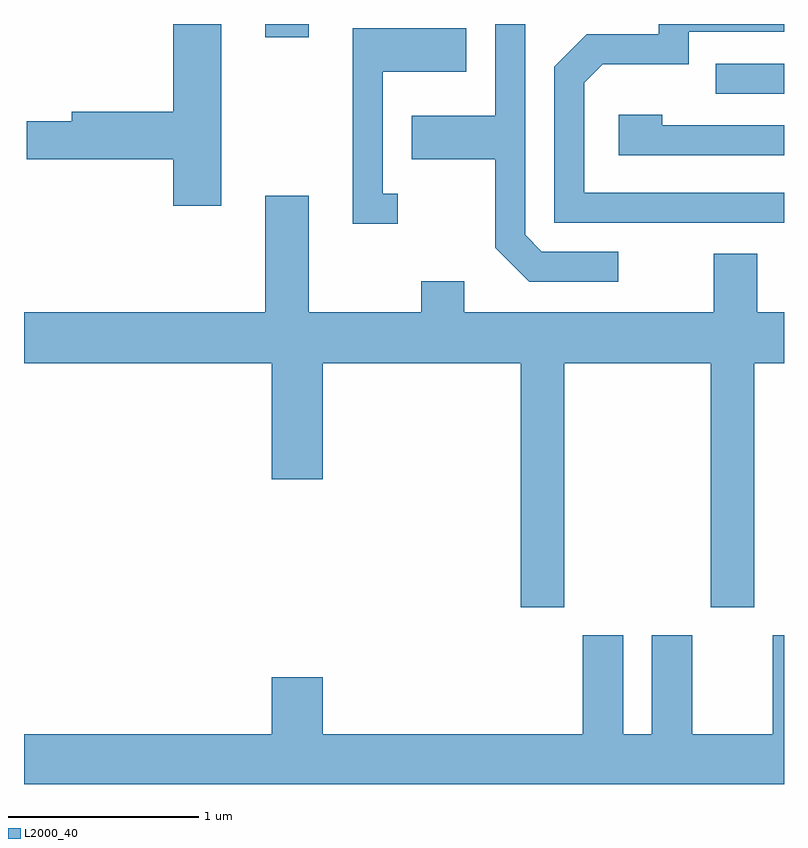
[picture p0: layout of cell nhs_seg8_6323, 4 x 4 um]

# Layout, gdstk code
import gdstk
lib = gdstk.Library(unit=1e-6, precision=1e-09)
def R(c, l, rs):  # rectangles x0, y0, x1, y1
    for r in rs: c.add(gdstk.rectangle(r[:2], r[2:], *l))
def P(c, l, *ps):  # polygons
    for p in ps: c.add(gdstk.Polygon(p, *l))
L2000_40 = (2000, 40)

nhs_seg8_6323 = lib.new_cell('nhs_seg8_6323')
R(nhs_seg8_6323, L2000_40, [(377.253,1919.976,377.611,1920.134), (374.881,1920.271,375.109,1920.342)])
P(nhs_seg8_6323, L2000_40, [(374.649,1920.342),(374.396,1920.342),(374.396,1919.879),(373.861,1919.879),(373.861,1919.829),(373.626,1919.829),(373.626,1919.631),(374.396,1919.631),(374.396,1919.386),(374.649,1919.386)],
  [(376.738,1919.144),(376.337,1919.144),(376.249,1919.232),(376.249,1920.342),(376.091,1920.342),(376.091,1919.859),(375.651,1919.859),(375.651,1919.631),(376.091,1919.631),(376.091,1919.164),(376.269,1918.986),(376.738,1918.986)],
  [(377.611,1919.454),(376.559,1919.454),(376.559,1920.034),(376.657,1920.131),(377.109,1920.131),(377.109,1920.301),(377.611,1920.301),(377.611,1920.342),(376.951,1920.342),(376.951,1920.289),(376.574,1920.289),(376.401,1920.117),(376.401,1919.296),(377.611,1919.296)],
  [(375.578,1919.449),(375.499,1919.449),(375.499,1920.091),(375.939,1920.091),(375.939,1920.319),(375.341,1920.319),(375.341,1919.291),(375.578,1919.291)],
  [(377.611,1919.809),(376.969,1919.809),(376.969,1919.864),(376.741,1919.864),(376.741,1919.651),(377.611,1919.651)],
  [(376.454,1918.556),(377.226,1918.556),(377.226,1917.271),(377.454,1917.271),(377.454,1918.556),(377.611,1918.556),(377.611,1918.824),(377.469,1918.824),(377.469,1919.134),(377.241,1919.134),(377.241,1918.824),(375.929,1918.824),(375.929,1918.989),(375.701,1918.989),(375.701,1918.824),(375.109,1918.824),(375.109,1919.439),(374.881,1919.439),(374.881,1918.824),(373.611,1918.824),(373.611,1918.556),(374.916,1918.556),(374.916,1917.946),(375.184,1917.946),(375.184,1918.556),(376.226,1918.556),(376.226,1917.271),(376.454,1917.271)],
  [(377.611,1917.124),(377.551,1917.124),(377.551,1916.604),(377.129,1916.604),(377.129,1917.124),(376.916,1917.124),(376.916,1916.604),(376.764,1916.604),(376.764,1917.124),(376.551,1917.124),(376.551,1916.604),(375.184,1916.604),(375.184,1916.904),(374.916,1916.904),(374.916,1916.604),(373.611,1916.604),(373.611,1916.342),(377.611,1916.342)])

lib.write_gds('nhs_seg8_6323.gds')
